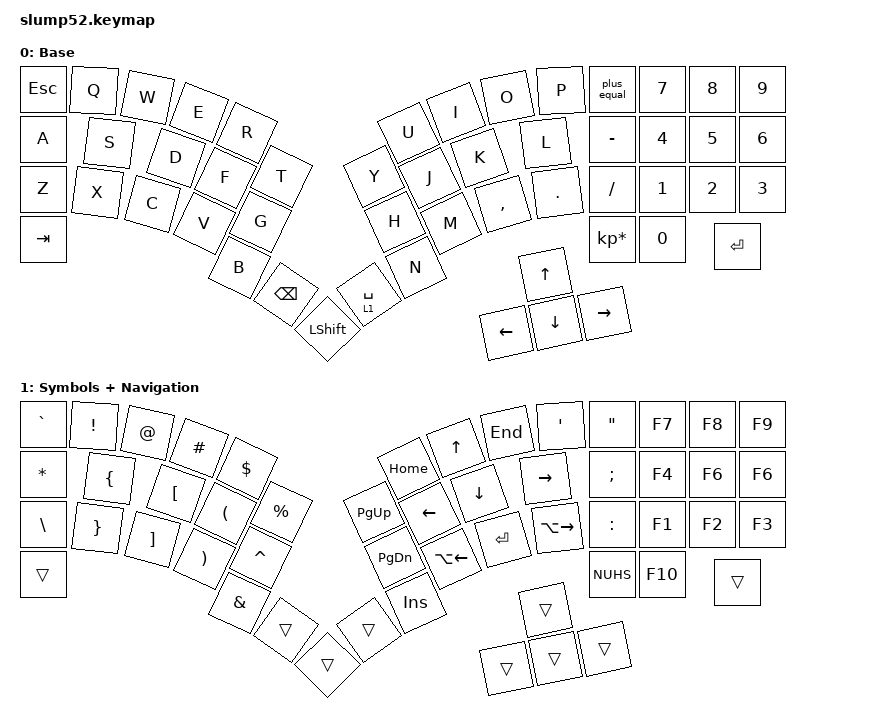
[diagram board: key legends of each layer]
#include <behaviors.dtsi>
#include <dt-bindings/zmk/keys.h>


/ {
    behaviors {

        // Flip equal and plus (when shift or no mods are used)
        _plus_equal: _plus_equal {
            compatible = "zmk,behavior-mod-morph";
            #binding-cells = <0>;
            bindings = <&kp LS(EQUAL)>, <&kp EQUAL>;
            mods = <(MOD_LSFT|MOD_RSFT)>;
            // do NOT want to keep shift active, but anything else is fine:
            keep-mods = <(MOD_LCTL|MOD_RCTL|MOD_LALT|MOD_RALT|MOD_LGUI|MOD_RGUI)>;
        };
        // Do not flip equal and plus when any non-shift mod is used:
        plus_equal: plus_equal {
            compatible = "zmk,behavior-mod-morph";
            #binding-cells = <0>;
            bindings = <&_plus_equal>, <&kp EQUAL>;
            mods = <(MOD_LCTL|MOD_RCTL|MOD_LALT|MOD_RALT|MOD_LGUI|MOD_RGUI)>;
            keep-mods = <(MOD_LSFT|MOD_RSFT|MOD_LCTL|MOD_RCTL|MOD_LALT|MOD_RALT|MOD_LGUI|MOD_RGUI)>;
        };

    };
};

/ {

    /* Physical layout close to this:
     *
     * ┌───┬───┬───┬───┬───┬───┐             ┌───┬───┬───┬───┬───┬───┬───┬───┬───┐
     * │Esc│ Q │ W │ E │ R │ T │             │ Y │ U │ I │ O │ P │ + │ 7 │ 8 │ 9 │
     * └───┼───┼───┼───┼───┼───┤             ├───┼───┼───┼───┼───┼───┼───┼───┼───┤
     *     │ A │ S │ D │ F │ G │             │ H │ J │ K │ L │ - │   │ 4 │ 5 │ 6 │
     *     ├───┼───┼───┼───┼───┤             ├───┼───┼───┼───┼───┤   ├───┼───┼───┤
     *     │ Z │ X │ C │ V │ B │             │ N │ M │ , │ . │ / │   │ 1 │ 2 │ 3 │
     *     ├───┼───┴───┴───┴───┼────┬────┬───┼───┴───┴───┴───┼───┤   ├───┼───┴───┘
     *     │Tab│               │BkSp│Shft│Spc├───┬───┬───┬───┤ * │   │ 0 │ ┌─────┐
     *     └───┘               └────┴────┴───┤ ← │ ↓ │ ↑ │ → ├───┘   └───┘ │Enter│
     *                                       └───┴───┴───┴───┘             └─────┘
     */

    keymap {
        compatible = "zmk,keymap";

        default_layer { // Layer 0
            display-name = "Base";
            bindings = <
                &kp ESCAPE &kp Q &kp W &kp E &kp R &kp T            &kp Y &kp U &kp I &kp O &kp P &plus_equal &kp N7 &kp N8 &kp N9
                           &kp A &kp S &kp D &kp F &kp G            &kp H &kp J &kp K     &kp L   &kp MINUS   &kp N4 &kp N5 &kp N6
                           &kp Z &kp X &kp C &kp V &kp B            &kp N &kp M &kp COMMA &kp DOT &kp SLASH   &kp N1 &kp N2 &kp N3
                           &kp TAB &kp BKSP &kp LSHFT &lt 1 SPACE &kp LEFT &kp DOWN &kp UP &kp RIGHT &kp KP_MULTIPLY &kp N0 &kp RET
            >;
        };

        sym_nav_layer { // Layer 1
            display-name = "Symbols + Navigation";
            bindings = <
                &kp GRAVE &kp EXCL  &kp AT   &kp HASH &kp DLLR &kp PRCNT            &kp PG_UP &kp HOME     &kp UP     &kp END  &kp SQT &kp DQT &kp F7 &kp F8 &kp F9
                          &kp ASTRK &kp LBRC &kp LBKT &kp LPAR &kp CARET            &kp PG_DN &kp LEFT     &kp DOWN   &kp RIGHT     &kp SEMI   &kp F4 &kp F6 &kp F6
                          &kp BSLH  &kp RBRC &kp RBKT &kp RPAR &kp AMPS             &kp INS   &kp LA(LEFT) &kp RETURN &kp LA(RIGHT) &kp COLON  &kp F1 &kp F2 &kp F3
                          &trans &trans &trans &trans &trans &trans &trans &trans &kp NUHS &kp F10 &trans
            >;
        };

        // Empty layers for ZMK Studio:
        extra1 {
            status = "reserved";
        };
        extra2 {
            status = "reserved";
        };
        extra3 {
            status = "reserved";
        };
        extra4 {
            status = "reserved";
        };
    };
};

/ {
    combos {
        compatible = "zmk,combos";

        // Top left (Escape) + top right (NumPad 9) = &studio_unlock
        combo_studio_unlock {
            timeout-ms = <100>;
            key-positions = <0 14>;
            bindings = <&studio_unlock>;
        };

        // Inner corners (T, Y, B, N) = &bootloader
        combo_bootloader {
            timeout-ms = <300>;
            key-positions = <5 6 32 33>;
            bindings = <&bootloader>;
            layers = <0>;
        };
    };
};
